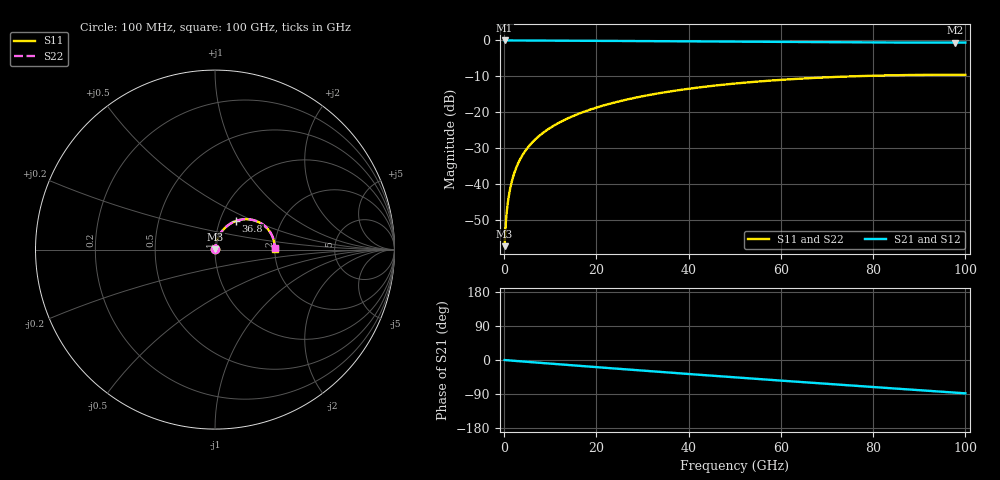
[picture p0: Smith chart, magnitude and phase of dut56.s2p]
! Touchstone file exported from HFSS 2026.1.0
!  File:  C:/ffzhzh/LocalFiles/Ansys_Project_Files/temp_train_RDL_56_1783498381_41296.aedt
!  Generated:  04:14:12 PM Jul  8, 2026
!  Design:  RDL
!  Project:  temp_train_RDL_56_1783498381_41296
! Variables:
!  h_bsmrdl = 2um
!  h_ox = 20um
!  h_rdl = 5um
!  h_sub = 80um
!  h_tmrdl = 4.11um
!  h_tsv = 80um
!  h_via = 3um
!  l_bsmrdl = 300um
!  l_sub = 686.22um
!  l_tmrdl = 286.22um
!  m_sub = 200um
!  pitch = 42.51um
!  r_tsv = 6um
!  s_tmrdl = 10um
!  w_bsmrdl = 18um
!  w_sub = 500um
!  w_tmrdl = 28.1um
!  x_tsv_center1 = 300.27um
!  x_tsv_center2 = 618.27um
!  x_tsv_center3 = 932.59um
!  x_tsv_center4 = 1250.59um
!  x_tsv_center5 = 1564.91um
!  x_tsv_center6 = 1882.91um
# GHz S MA R 50.000000
! Terminal data exported
! Port[1] = TM_RDL1_1_T1
! Port[2] = TM_RDL1_1_T2
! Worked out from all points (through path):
!   1000 points, 100 MHz to 100 GHz, reference 50 ohm
!   highest |S21| = -0.01 dB at 100 MHz (marker M1); lowest = -0.6 dB at 97.8 GHz (marker M2)
!   group delay of S21, straight-line fit = 2.43 ps
!   lowest |S11| = -57.3 dB at 100 MHz (marker M3), VSWR 1.00, Z = 50.1 + j0.0797 ohm
!   |S11| at or under -10 dB: start of sweep to 75.5 GHz
!   |S22| runs from -57.3 to -9.6 dB; largest |S21 - S12| = 3.5e-15
!   S11 on the Smith chart (normalised r, x): 100 MHz: 1.00, +0.00; 36.8 GHz: 1.19, +0.40; 100 GHz: 1.99, +0.02
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0.1  0.001364 35.7  0.9989 -0.1  0.9989 -0.1  0.001364 35.7
! Gamma 0 0 0 0
! Port Impedance 50 0 50 0
0.4  0.003107 63.3  0.9986 -0.4  0.9986 -0.4  0.003107 63.3
0.7  0.004891 71.7  0.9985 -0.7  0.9985 -0.7  0.004891 71.7
0.9  0.006116 74.7  0.9985 -0.9  0.9985 -0.9  0.006116 74.7
1.2  0.00798 77.3  0.9984 -1.2  0.9984 -1.2  0.007979 77.3
1.5  0.009859 78.9  0.9983 -1.5  0.9983 -1.5  0.009859 78.9
2  0.013 80.2  0.9981 -1.9  0.9981 -1.9  0.013 80.2
2.6  0.01675 80.8  0.9979 -2.5  0.9979 -2.5  0.01675 80.8
3.3  0.0211 80.9  0.9976 -3.2  0.9976 -3.2  0.0211 80.9
4.1  0.026 80.6  0.9972 -4.0  0.9972 -4.0  0.026 80.6
6.2  0.03861 79.3  0.9961 -6.0  0.9961 -6.0  0.03861 79.3
9  0.05495 77.2  0.9945 -8.6  0.9945 -8.6  0.05495 77.2
12.5  0.07489 74.4  0.9923 -11.9  0.9923 -11.9  0.07489 74.4
16.8  0.09877 70.9  0.9895 -15.9  0.9895 -15.9  0.09877 70.9
24.2  0.1381 64.5  0.9837 -22.7  0.9837 -22.7  0.1381 64.6
33.4  0.1831 56.6  0.9754 -31.0  0.9754 -31.0  0.1831 56.6
36.8  0.1984 53.6  0.9721 -34.1  0.9721 -34.1  0.1984 53.7
50.1  0.2512 42.2  0.9589 -45.8  0.9589 -45.8  0.2512 42.3
66.7  0.2993 28.3  0.9445 -60.1  0.9445 -60.1  0.2993 28.4
83.4  0.3263 14.5  0.935 -74.1  0.935 -74.1  0.3263 14.6
97.8  0.3322 2.7  0.9323 -86.1  0.9323 -86.1  0.3322 2.9
100  0.3317 0.9  0.9323 -88.0  0.9323 -88.0  0.3317 1.1
